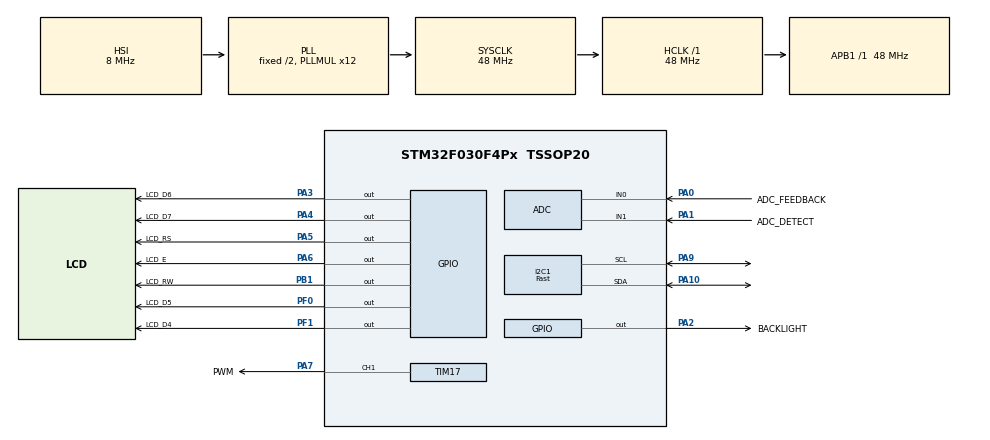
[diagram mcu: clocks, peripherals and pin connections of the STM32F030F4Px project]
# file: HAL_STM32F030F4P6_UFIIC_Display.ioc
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ADC.ClockPrescaler=ADC_CLOCK_SYNC_PCLK_DIV4
ADC.ContinuousConvMode=ENABLE
ADC.DMAContinuousRequests=ENABLE
ADC.EOCSelection=ADC_EOC_SINGLE_CONV
ADC.SamplingTime=ADC_SAMPLETIME_71CYCLES_5
Dma.ADC.0.Direction=DMA_PERIPH_TO_MEMORY
Dma.ADC.0.Instance=DMA1_Channel1
Dma.ADC.0.MemDataAlignment=DMA_MDATAALIGN_WORD
Dma.ADC.0.MemInc=DMA_MINC_ENABLE
Dma.ADC.0.Mode=DMA_CIRCULAR
Dma.ADC.0.PeriphDataAlignment=DMA_PDATAALIGN_WORD
Dma.ADC.0.PeriphInc=DMA_PINC_DISABLE
Dma.ADC.0.Priority=DMA_PRIORITY_LOW
Dma.Request0=ADC
I2C1.I2C_Speed_Mode=I2C_Fast
I2C1.OwnAddress=0
I2C1.Timing=0x0000020B
Mcu.Family=STM32F0
Mcu.Name=STM32F030F4Px
Mcu.Package=TSSOP20
NVIC.DMA1_Channel1_IRQn=true\:0\:0\:false\:false\:true\:false\:true
NVIC.TIM16_IRQn=true\:0\:0\:false\:false\:true\:true\:true
PA0.GPIO_Label=ADC_FEEDBACK
PA0.Mode=IN0
PA0.Signal=ADC_IN0
PA1.GPIO_Label=ADC_DETECT
PA1.Mode=IN1
PA1.Signal=ADC_IN1
PA10.Mode=I2C
PA10.Signal=I2C1_SDA
PA13.Mode=Serial_Wire
PA13.Signal=SYS_SWDIO
PA14.Mode=Serial_Wire
PA14.Signal=SYS_SWCLK
PA2.GPIO_Label=BACKLIGHT
PA2.Signal=GPIO_Output
PA3.GPIO_Label=LCD_D6
PA3.Signal=GPIO_Output
PA4.GPIO_Label=LCD_D7
PA4.Signal=GPIO_Output
PA5.GPIO_Label=LCD_RS
PA5.Signal=GPIO_Output
PA6.GPIO_Label=LCD_E
PA6.Signal=GPIO_Output
PA7.GPIO_Label=PWM
PA7.Signal=S_TIM17_CH1
PA9.Mode=I2C
PA9.Signal=I2C1_SCL
PB1.GPIO_Label=LCD_RW
PB1.Signal=GPIO_Output
PF0-OSC_IN.GPIO_Label=LCD_D5
PF0-OSC_IN.Signal=GPIO_Output
PF1-OSC_OUT.GPIO_Label=LCD_D4
PF1-OSC_OUT.Signal=GPIO_Output
ProjectManager.HeapSize=0x200
ProjectManager.StackSize=0x400
ProjectManager.TargetToolchain=STM32CubeIDE
RCC.AHBFreq_Value=48000000
RCC.APB1Freq_Value=48000000
RCC.APB1TimFreq_Value=48000000
RCC.HCLKFreq_Value=48000000
RCC.PLLMUL=RCC_PLL_MUL12
RCC.SYSCLKFreq_VALUE=48000000
RCC.SYSCLKSource=RCC_SYSCLKSOURCE_PLLCLK
SH.S_TIM17_CH1.0=TIM17_CH1,PWM Generation1 CH1
TIM14.Channel=TIM_CHANNEL_1
TIM14.Period=65535
TIM14.Prescaler=47
TIM16.Channel=TIM_CHANNEL_1
TIM16.Period=999
TIM16.Prescaler=47
TIM17.Channel=TIM_CHANNEL_1
TIM17.Period=250
TIM17.Prescaler=0
VP_TIM14_VS_ClockSourceINT.Mode=Enable_Timer
VP_TIM14_VS_no_output1.Mode=Output Compare1 No Output
VP_TIM16_VS_ClockSourceINT.Mode=Enable_Timer
VP_TIM16_VS_no_output1.Mode=Output Compare1 No Output
VP_TIM17_VS_ClockSourceINT.Mode=Enable_Timer
board=custom

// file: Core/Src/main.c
/* USER CODE BEGIN Header */
/**
  ******************************************************************************
  * @file           : main.c
  * @brief          : Main program body
  ******************************************************************************
  * @attention
  *
  * <h2><center>&copy; Copyright (c) 2020 STMicroelectronics.
  * All rights reserved.</center></h2>
  *
  * This software component is licensed by ST under BSD 3-Clause license,
  * the "License"; You may not use this file except in compliance with the
  * License. You may obtain a copy of the License at:
  *                        opensource.org/licenses/BSD-3-Clause
  *
  ******************************************************************************
  */
/* USER CODE END Header */

#include "main.h"
#include "adc.h"
#include "dma.h"
#include "i2c.h"
#include "tim.h"
#include "gpio.h"

/* USER CODE BEGIN Includes */
#include "LCD_HD44780.h"
/* USER CODE END Includes */

/* USER CODE BEGIN PV */

// ADC data tab for DMA
// ADC_tab[0] = ADC_FEEDBACK, ADC_tab[1] = ADC_DETECT
uint32_t ADC_tab[2];

//PWM parameters - may need to be modified in final PCB
uint32_t PWM_Duty = 0;
uint32_t PWM_max = 100;
uint32_t PWM_min = 10;
uint16_t ADC_target = 770;  //target step-up voltage

/* USER CODE END PV */

void SystemClock_Config(void);

/* USER CODE BEGIN 0 */

//Timer overflow callback function - update step-up PWM duty in 1ms intervals
void HAL_TIM_PeriodElapsedCallback(TIM_HandleTypeDef *htim)
{
	if (htim->Instance == TIM16) {
		//Step-up converter logic
		if (ADC_tab[0] < ADC_target && PWM_Duty < PWM_max)
		{
			PWM_Duty++;
			TIM17->CCR1 = PWM_Duty;
		}
		if (ADC_tab[0] > ADC_target && PWM_Duty > PWM_min)
		{
			PWM_Duty--;
			TIM17->CCR1 = PWM_Duty;
		}
	}
}
/* USER CODE END 0 */

int main(void)
{

  /* MCU Configuration--------------------------------------------------------*/

  /* Reset of all peripherals, Initializes the Flash interface and the Systick. */
  HAL_Init();

  /* Configure the system clock */
  SystemClock_Config();

  /* Initialize all configured peripherals */
  MX_GPIO_Init();
  MX_DMA_Init();
  MX_ADC_Init();
  MX_I2C1_Init();
  MX_TIM17_Init();
  MX_TIM16_Init();
  MX_TIM14_Init();
  /* USER CODE BEGIN 2 */

  HAL_TIM_Base_Start_IT(&htim16);             //start timer16 - used to update step-up PWM in constant intervals
  HAL_ADCEx_Calibration_Start(&hadc);
  HAL_ADC_Start_DMA(&hadc, ADC_tab, 2);       //start ADC in DMA mode
  HAL_TIM_PWM_Start(&htim17, TIM_CHANNEL_1);  //start timer17 - generate PWM for step-up
  HAL_TIM_Base_Start(&htim14);                //start timer14 - base for microseconds delay function

  LCD_Init();

  /* USER CODE END 2 */

  /* Infinite loop */
  /* USER CODE BEGIN WHILE */
	while (1)
	{
		LCD_Cls();
		LCD_Locate(0, 0);
		LCD_String("UFIIC Display");
		HAL_Delay(2000);
		LCD_Locate(0, 1);
		LCD_String("First test");
		HAL_Delay(2000);
		LCD_Cls();
		HAL_Delay(2000);
		/* USER CODE END WHILE */

	}
}

void SystemClock_Config(void)
{
  RCC_OscInitTypeDef RCC_OscInitStruct = {0};
  RCC_ClkInitTypeDef RCC_ClkInitStruct = {0};
  RCC_PeriphCLKInitTypeDef PeriphClkInit = {0};

  /** Initializes the CPU, AHB and APB busses clocks
  */
  RCC_OscInitStruct.OscillatorType = RCC_OSCILLATORTYPE_HSI;
  RCC_OscInitStruct.HSIState = RCC_HSI_ON;
  RCC_OscInitStruct.HSICalibrationValue = RCC_HSICALIBRATION_DEFAULT;
  RCC_OscInitStruct.PLL.PLLState = RCC_PLL_ON;
  RCC_OscInitStruct.PLL.PLLSource = RCC_PLLSOURCE_HSI;
  RCC_OscInitStruct.PLL.PLLMUL = RCC_PLL_MUL12;
  RCC_OscInitStruct.PLL.PREDIV = RCC_PREDIV_DIV1;
  if (HAL_RCC_OscConfig(&RCC_OscInitStruct) != HAL_OK)
  {
    Error_Handler();
  }
  /** Initializes the CPU, AHB and APB busses clocks
  */
  RCC_ClkInitStruct.ClockType = RCC_CLOCKTYPE_HCLK|RCC_CLOCKTYPE_SYSCLK
                              |RCC_CLOCKTYPE_PCLK1;
  RCC_ClkInitStruct.SYSCLKSource = RCC_SYSCLKSOURCE_PLLCLK;
  RCC_ClkInitStruct.AHBCLKDivider = RCC_SYSCLK_DIV1;
  RCC_ClkInitStruct.APB1CLKDivider = RCC_HCLK_DIV1;

  if (HAL_RCC_ClockConfig(&RCC_ClkInitStruct, FLASH_LATENCY_1) != HAL_OK)
  {
    Error_Handler();
  }
  PeriphClkInit.PeriphClockSelection = RCC_PERIPHCLK_I2C1;
  PeriphClkInit.I2c1ClockSelection = RCC_I2C1CLKSOURCE_HSI;
  if (HAL_RCCEx_PeriphCLKConfig(&PeriphClkInit) != HAL_OK)
  {
    Error_Handler();
  }
}

void Error_Handler(void)
{
}

/************************ (C) COPYRIGHT STMicroelectronics *****END OF FILE****/
